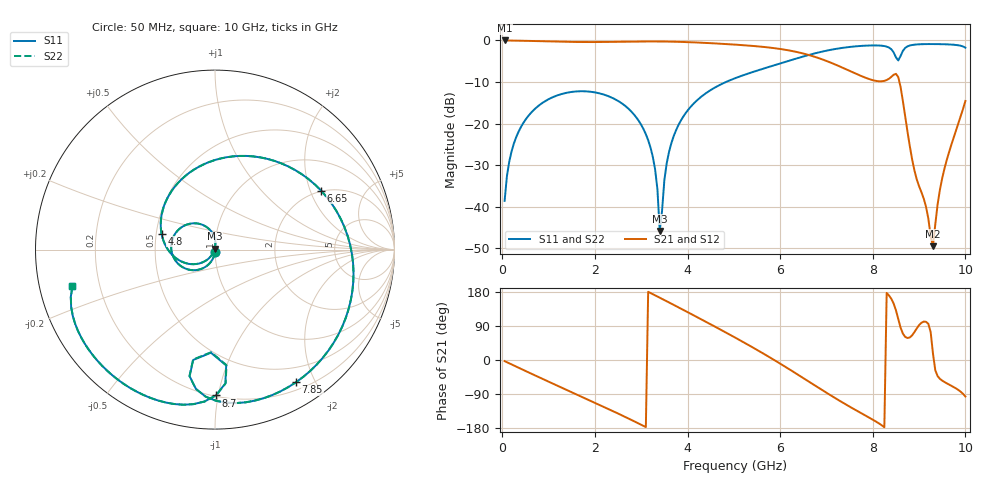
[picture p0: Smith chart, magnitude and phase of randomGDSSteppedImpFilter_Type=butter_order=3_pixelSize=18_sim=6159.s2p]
! freq	dB(S11)	phase(S11)	dB(S12)	phase(S12)
!  dB(S21)	phase(S21)	dB(S22)	phase(S22)
!S-par simulation data
#  GHz  S  DB  R 50
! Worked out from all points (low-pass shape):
!   200 points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, 50 MHz to 10 GHz, reference 50 ohm
!   highest |S21| = -0.01 dB at 50 MHz (marker M1); lowest = -49.4 dB at 9.3 GHz (marker M2)
!   |S21| within 3 dB of the highest: start of sweep to 6.449 GHz
!   lowest |S11| = -45.8 dB at 3.4 GHz (marker M3), VSWR 1.01, Z = 49.7 + j0.43 ohm
!   |S11| at or under -10 dB: start of sweep to 4.828 GHz
!   |S22| runs from -45.4 to -0.9 dB; largest |S21 - S12| = 0
!   S11 on the Smith chart (normalised r, x): 50 MHz: 1.00, -0.02; 4.8 GHz: 0.53, +0.11; 6.65 GHz: 1.97, +2.39; 7.85 GHz: 0.30, -1.75; 8.7 GHz: 0.21, -0.98; 10 GHz: 0.10, -0.12
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0.05  -38.55 -92.2  -0.01 -3.0  -0.01 -3.0  -38.55 -92.2
0.2  -26.67 -101.7  -0.03 -11.7  -0.03 -11.7  -26.67 -101.7
0.5  -19.07 -119.4  -0.09 -28.9  -0.09 -28.9  -19.07 -119.4
1.75  -12.21 170.6  -0.39 -98.8  -0.39 -98.8  -12.21 170.6
3  -20.30 99.8  -0.25 -170.9  -0.25 -170.9  -20.30 100.0
3.3  -31.01 85.6  -0.25 170.7  -0.25 170.7  -31.00 86.2
3.4  -45.81 122.4  -0.25 164.4  -0.25 164.4  -45.44 124.4
3.55  -29.54 -120.6  -0.27 155.0  -0.27 155.0  -29.53 -121.2
3.75  -21.63 -130.3  -0.32 142.4  -0.32 142.4  -21.63 -130.6
4.8  -10.14 163.3  -0.85 74.4  -0.85 74.4  -10.14 163.2
5.05  -8.98 146.7  -1.02 57.7  -1.02 57.7  -8.98 146.6
5.85  -6.05 90.3  -1.82 1.6  -1.82 1.6  -6.05 90.2
6.65  -3.40 29.1  -3.61 -59.4  -3.61 -59.4  -3.40 29.1
6.7  -3.25 25.2  -3.77 -63.3  -3.77 -63.3  -3.25 25.2
7.25  -1.95 -16.7  -6.07 -105.1  -6.07 -105.1  -1.95 -16.7
7.85  -1.25 -58.6  -9.00 -147.1  -9.00 -147.1  -1.25 -58.6
8.35  -1.71 -93.6  -9.20 170.3  -9.20 170.3  -1.72 -93.7
8.55  -4.81 -92.2  -8.81 108.1  -8.81 108.1  -4.85 -92.2
8.7  -1.80 -89.7  -18.27 61.0  -18.27 61.0  -1.81 -89.5
9.3  -0.87 -126.6  -49.44 16.8  -49.44 16.8  -0.87 -126.5
9.5  -0.90 -136.5  -33.07 -54.4  -33.07 -54.4  -0.90 -136.4
10  -1.73 -165.8  -14.54 -96.3  -14.54 -96.3  -1.72 -165.6
